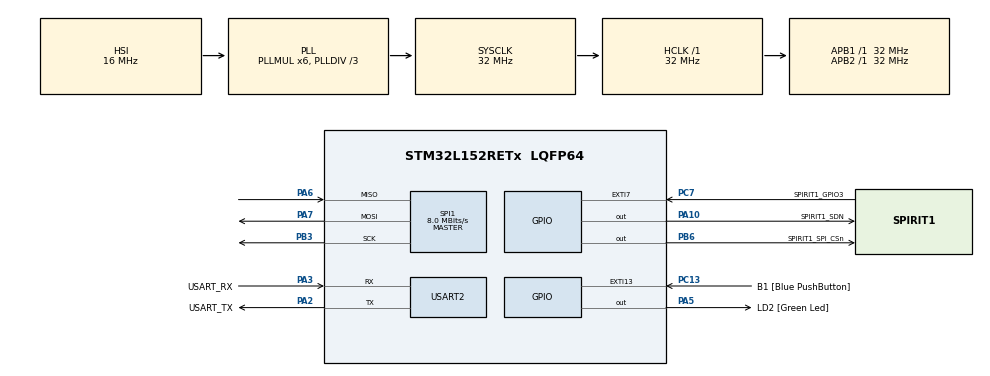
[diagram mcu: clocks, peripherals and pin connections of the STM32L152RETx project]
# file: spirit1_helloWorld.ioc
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Mcu.Family=STM32L1
RCC.MSI_VALUE=2097000
PC15-OSC32_OUT.Mode=LSE-External-Oscillator
PA6.Mode=Full_Duplex_Master
PH0-OSC_IN.Signal=RCC_OSC_IN
PA7.Mode=Full_Duplex_Master
SPI1.VirtualType=VM_MASTER
PA14.GPIO_Label=TCK
PB6.GPIO_Label=SPIRIT1_SPI_CSn
PC14-OSC32_IN.Signal=RCC_OSC32_IN
RCC.SYSCLKSource=RCC_SYSCLKSOURCE_PLLCLK
ProjectManager.StackSize=0x400
PA3.Mode=Asynchronous
PA13.Signal=SYS_JTMS-SWDIO
RCC.PLLDIV=RCC_PLL_DIV3
ProjectManager.TargetToolchain=STM32CubeIDE
SPI1.Direction=SPI_DIRECTION_2LINES
RCC.HCLKFreq_Value=32000000
PC13-WKUP2.GPIO_Label=B1 [Blue PushButton]
RCC.APB2TimFreq_Value=32000000
PB6.Signal=GPIO_Output
PC7.Signal=GPXTI7
SPI1.CalculateBaudRate=8.0 MBits/s
PC15-OSC32_OUT.Signal=RCC_OSC32_OUT
RCC.AHBFreq_Value=32000000
PH0-OSC_IN.Mode=HSE-External-Clock-Source
PA5.Signal=GPIO_Output
RCC.HSE_VALUE=8000000
PC13-WKUP2.Signal=GPXTI13
PB3.Mode=Full_Duplex_Master
board=NUCLEO-L152RE
RCC.VCOOutputFreq_Value=96000000
RCC.PLLMUL=RCC_PLL_MUL6
RCC.APB2Freq_Value=32000000
PC14-OSC32_IN.Mode=LSE-External-Oscillator
RCC.RTCClockSelectionVirtual=RCC_RTCCLKSOURCE_LSE
SPI1.Mode=SPI_MODE_MASTER
PA14.Mode=Serial_Wire
PA10.GPIO_Label=SPIRIT1_SDN
PH1-OSC_OUT.Signal=RCC_OSC_OUT
PA13.Mode=Serial_Wire
Mcu.Name=STM32L152RETx
PA2.Signal=USART2_TX
PA13.GPIO_Label=TMS
PC7.GPIO_Label=SPIRIT1_GPIO3
RCC.48MHZClocksFreq_Value=48000000
PB3.Signal=SPI1_SCK
RCC.SYSCLKFreq_VALUE=32000000
PC7.GPIO_ModeDefaultEXTI=GPIO_MODE_IT_FALLING
Mcu.Package=LQFP64
PA6.Signal=SPI1_MISO
PA5.GPIO_Label=LD2 [Green Led]
USART2.VirtualMode=VM_ASYNC
RCC.USBOutput=48000000
PA2.GPIO_Label=USART_TX
NVIC.EXTI9_5_IRQn=true\:0\:0\:false\:false\:true\:true\:true
PA10.Signal=GPIO_Output
PA14.Signal=SYS_JTCK-SWCLK
ProjectManager.HeapSize=0x200
RCC.HSI_VALUE=16000000
NVIC.PriorityGroup=NVIC_PRIORITYGROUP_0
RCC.APB1TimFreq_Value=32000000
PA2.Mode=Asynchronous
RCC.APB1Freq_Value=32000000
SPI1.BaudRatePrescaler=SPI_BAUDRATEPRESCALER_4
PA3.GPIO_Label=USART_RX
PA3.Signal=USART2_RX
PA7.Signal=SPI1_MOSI

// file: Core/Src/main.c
/* USER CODE BEGIN Header */
/**
  ******************************************************************************
  * @file           : main.c
  * @brief          : Main program body
  ******************************************************************************
  * @attention
  *
  * <h2><center>&copy; Copyright (c) 2021 STMicroelectronics.
  * All rights reserved.</center></h2>
  *
  * This software component is licensed by ST under BSD 3-Clause license,
  * the "License"; You may not use this file except in compliance with the
  * License. You may obtain a copy of the License at:
  *                        opensource.org/licenses/BSD-3-Clause
  *
  ******************************************************************************
  */
/* USER CODE END Header */
#include "main.h"
#include "spi.h"
#include "usart.h"
#include "gpio.h"

/* USER CODE BEGIN Includes */

#include <stdio.h>
#include "spsgrf.h"

/* USER CODE END Includes */

/* USER CODE BEGIN PD */

#define APPLICATION_TRANSMITTER // comment out if programming the receiver

/* USER CODE END PD */

/* USER CODE BEGIN PV */

volatile SpiritFlagStatus xTxDoneFlag;
volatile SpiritFlagStatus xRxDoneFlag;

/* USER CODE END PV */

void SystemClock_Config(void);

int main(void)
{
  /* USER CODE BEGIN 1 */

  char payload[20] = "Hello World!\r\n";
  uint8_t rxLen;

  /* USER CODE END 1 */

  /* MCU Configuration--------------------------------------------------------*/

  /* Reset of all peripherals, Initializes the Flash interface and the Systick. */
  HAL_Init();

  /* Configure the system clock */
  SystemClock_Config();

  /* Initialize all configured peripherals */
  MX_GPIO_Init();
  MX_USART2_UART_Init();
  MX_SPI1_Init();
  /* USER CODE BEGIN 2 */

  SPSGRF_Init();
  SpiritPktBasicSetDestinationAddress(0x44);

  /* USER CODE END 2 */

  /* Infinite loop */
  while (1)
  {

    /* USER CODE BEGIN 3 */

#ifdef APPLICATION_TRANSMITTER
    // Send the payload
    xTxDoneFlag = S_RESET;
    SPSGRF_StartTx(payload, strlen(payload));
    while(!xTxDoneFlag);

    HAL_UART_Transmit(&huart2, "Payload Sent\r\n", 14, HAL_MAX_DELAY);

    HAL_Delay(2000); // Block for 2000 ms
#else
    xRxDoneFlag = S_RESET;
    SPSGRF_StartRx();
    while (!xRxDoneFlag);

    rxLen = SPSGRF_GetRxData(payload);
    HAL_UART_Transmit(&huart2, "Received: ", 10, HAL_MAX_DELAY);
    HAL_UART_Transmit(&huart2, payload, rxLen, HAL_MAX_DELAY);
#endif // APPLICATION_TRANSMITTER
  }
  /* USER CODE END 3 */
}

void SystemClock_Config(void)
{
  RCC_OscInitTypeDef RCC_OscInitStruct = {0};
  RCC_ClkInitTypeDef RCC_ClkInitStruct = {0};

  /** Configure the main internal regulator output voltage
  */
  __HAL_PWR_VOLTAGESCALING_CONFIG(PWR_REGULATOR_VOLTAGE_SCALE1);
  /** Initializes the RCC Oscillators according to the specified parameters
  * in the RCC_OscInitTypeDef structure.
  */
  RCC_OscInitStruct.OscillatorType = RCC_OSCILLATORTYPE_HSI;
  RCC_OscInitStruct.HSIState = RCC_HSI_ON;
  RCC_OscInitStruct.HSICalibrationValue = RCC_HSICALIBRATION_DEFAULT;
  RCC_OscInitStruct.PLL.PLLState = RCC_PLL_ON;
  RCC_OscInitStruct.PLL.PLLSource = RCC_PLLSOURCE_HSI;
  RCC_OscInitStruct.PLL.PLLMUL = RCC_PLL_MUL6;
  RCC_OscInitStruct.PLL.PLLDIV = RCC_PLL_DIV3;
  if (HAL_RCC_OscConfig(&RCC_OscInitStruct) != HAL_OK)
  {
    Error_Handler();
  }
  /** Initializes the CPU, AHB and APB buses clocks
  */
  RCC_ClkInitStruct.ClockType = RCC_CLOCKTYPE_HCLK|RCC_CLOCKTYPE_SYSCLK
                              |RCC_CLOCKTYPE_PCLK1|RCC_CLOCKTYPE_PCLK2;
  RCC_ClkInitStruct.SYSCLKSource = RCC_SYSCLKSOURCE_PLLCLK;
  RCC_ClkInitStruct.AHBCLKDivider = RCC_SYSCLK_DIV1;
  RCC_ClkInitStruct.APB1CLKDivider = RCC_HCLK_DIV1;
  RCC_ClkInitStruct.APB2CLKDivider = RCC_HCLK_DIV1;

  if (HAL_RCC_ClockConfig(&RCC_ClkInitStruct, FLASH_LATENCY_1) != HAL_OK)
  {
    Error_Handler();
  }
}

/* USER CODE BEGIN 4 */

void HAL_GPIO_EXTI_Callback(uint16_t GPIO_Pin)
{
  SpiritIrqs xIrqStatus;

  if (GPIO_Pin != SPIRIT1_GPIO3_Pin)
  {
    return;
  }

  SpiritIrqGetStatus(&xIrqStatus);
  if (xIrqStatus.IRQ_TX_DATA_SENT)
  {
    xTxDoneFlag = S_SET;
  }
  if (xIrqStatus.IRQ_RX_DATA_READY)
  {
    xRxDoneFlag = S_SET;
  }
  if (xIrqStatus.IRQ_RX_DATA_DISC || xIrqStatus.IRQ_RX_TIMEOUT)
  {
    SpiritCmdStrobeRx();
  }
}

/* USER CODE END 4 */

void Error_Handler(void)
{
  __disable_irq();
  while (1)
  {
  }
}

/************************ (C) COPYRIGHT STMicroelectronics *****END OF FILE****/
